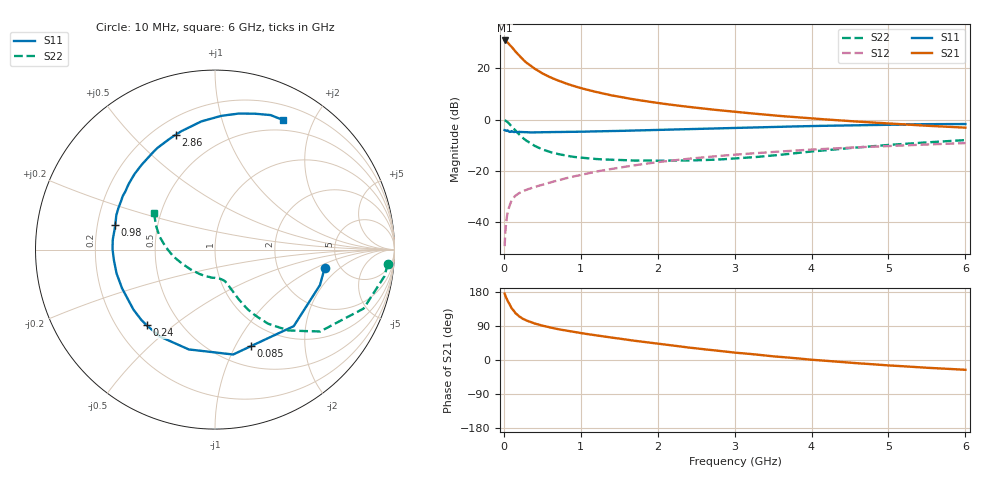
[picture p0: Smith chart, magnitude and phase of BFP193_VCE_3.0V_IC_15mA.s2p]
! Infineon Technologies  Discrete & RF Semiconductors
! BFP193
! VCE = 3.0 V,  IC =  15 mA
! Common Emitter S-Parameters:  Jan 2016
# GHz  S  MA  R  50
!  f  S11  S21  S12  S22
! GHz  MAG  ANG  MAG  ANG  MAG  ANG  MAG  ANG
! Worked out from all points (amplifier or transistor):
!   210 points, 10 MHz to 6 GHz, reference 50 ohm
!   highest |S21| = 31.0 dB at 10 MHz (marker M1)
!   |S21| within 3 dB of that: start of sweep to 115 MHz
!   unconditionally stable (mu >= 1): 854.9 MHz to 3.751 GHz
!   at 185 MHz: K = 0.41, MSG = 27.3 dB, |S12| = -29.1 dB
!   at 1.52 GHz: K = 1.08, MAG = 12.1 dB, |S12| = -18.8 dB
!   at 6 GHz: K = 0.92, MSG = 3.0 dB, |S12| = -9.2 dB
!   S11 on the Smith chart (normalised r, x): 10 MHz: 3.80, -1.27; 85 MHz: 0.72, -1.16; 240 MHz: 0.32, -0.40; 980 MHz: 0.28, +0.11; 2.86 GHz: 0.29, +0.68; 6 GHz: 0.37, +1.59
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0.01  0.6193 -9.6  35.39 175.3  0.0033 85.4  0.9665 -4.7
0.02  0.6174 -18.6  34.3 169.1  0.0064 81.9  0.9551 -9.0
0.05  0.6119 -44.2  32.12 155.3  0.0155 72.0  0.8909 -21.6
0.085  0.5739 -69.4  28.04 143.1  0.0227 61.9  0.7801 -32.4
0.1  0.5931 -80.2  26.75 136.9  0.0259 59.3  0.7428 -37.9
0.15  0.5751 -104.7  21.52 123.7  0.0322 52.0  0.6079 -47.8
0.2  0.5735 -122.2  17.85 114.9  0.0362 48.7  0.5075 -54.4
0.24  0.5682 -132.1  15.45 109.7  0.0388 47.3  0.4459 -57.6
0.3  0.5641 -143.7  12.77 103.5  0.0423 46.8  0.3794 -61.3
0.4  0.561 -157.4  9.92 96.3  0.0476 47.3  0.3049 -64.6
0.5  0.5643 -166.4  8.02 90.6  0.0525 49.0  0.259 -66.6
0.6  0.5664 -174.1  6.755 85.8  0.0584 50.6  0.2308 -68.2
0.7  0.5711 179.6  5.843 81.4  0.0637 51.7  0.2114 -69.5
0.98  0.5728 165.9  4.216 71.7  0.081 53.4  0.1803 -73.6
1.02  0.5753 164.2  4.056 70.4  0.0835 53.6  0.1778 -74.4
1.4  0.5943 149.9  2.973 59.2  0.1072 53.1  0.1634 -82.7
2.02  0.6251 130.7  2.09 42.7  0.1472 48.8  0.1555 -101.4
2.86  0.6766 108.8  1.489 22.7  0.1968 40.8  0.1668 -132.9
3.1  0.6907 103.8  1.371 17.8  0.2099 38.2  0.176 -141.9
4.1  0.7498 85.8  1.025 -0.7  0.2623 27.6  0.2434 -173.8
5.1  0.7931 72.3  0.82 -15.4  0.307 16.8  0.3246 164.7
6  0.8155 62.4  0.693 -25.9  0.345 7.2  0.3952 149.2
